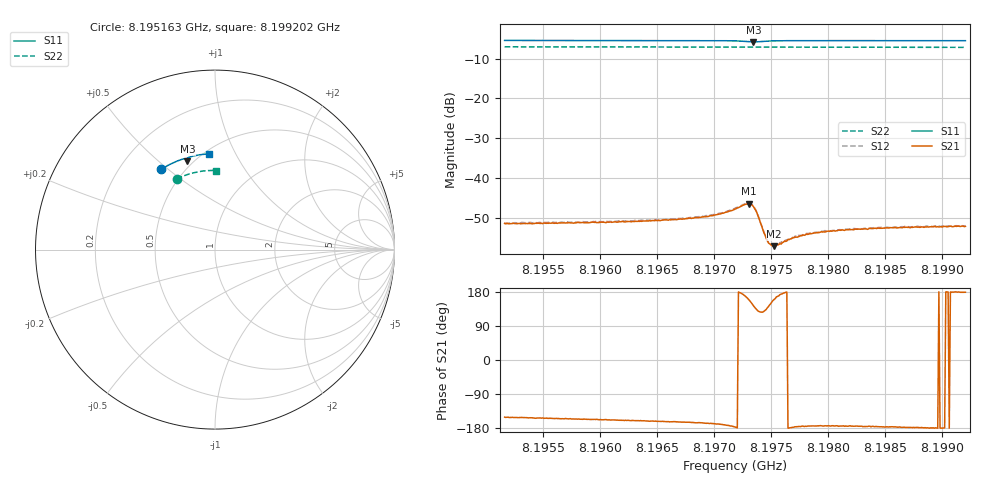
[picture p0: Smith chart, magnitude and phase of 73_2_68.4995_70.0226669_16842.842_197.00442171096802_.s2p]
#  HZ  S  RI  R  50.00
! Rohde & Schwarz Vector Network Analyzer
! Rohde-Schwarz,ZNB20-2Port,1311601062101988,3.16
! Created: UTC 3/20/2024, 4:51:50 PM
! freq[Hz]  re:S11  im:S11  re:S21  im:S21  re:S12  im:S12  re:S22  im:S22
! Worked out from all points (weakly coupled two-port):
!   401 points, 8.195163 GHz to 8.199202 GHz, reference 50 ohm
!   highest |S21| = -46.53 dB at 8.197303 GHz (marker M1); lowest = -57.2 dB at 8.197525 GHz (marker M2)
!   lowest |S11| = -5.8 dB at 8.197344 GHz (marker M3), VSWR 3.13, Z = 23.3 + j31.3 ohm
!   |S11| at or under -10 dB: nowhere
!   |S22| runs from -7.1 to -7.0 dB; largest |S21 - S12| = 0.00025
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8.1951626e9  -0.2984 0.4476  -0.00233 -0.0013  -0.0024 -0.00125  -0.2123 0.3935
8.1958392e9  -0.2568 0.472  -0.0025 -0.0011  -0.00256 -0.00104  -0.1778 0.4091
8.1965157e9  -0.2127 0.4925  -0.00277 -0.00091  -0.00284 -0.000829  -0.1421 0.4218
8.1969297e9  -0.1834 0.503  -0.00316 -0.000719  -0.00329 -0.00065  -0.1197 0.4278
8.1970812e9  -0.1711 0.5059  -0.00355 -0.000573  -0.00365 -0.000472  -0.1113 0.4299
8.1971822e9  -0.1613 0.5062  -0.00404 -0.000231  -0.00415 -4.69e-05  -0.1057 0.4311
8.1972629e9  -0.1528 0.5023  -0.00452 0.000744  -0.00456 0.000946  -0.1012 0.432
8.1973033e9  -0.1504 0.4974  -0.00441 0.00167  -0.0044 0.00189  -0.0991 0.4321
8.1973235e9  -0.151 0.4945  -0.00409 0.00219  -0.00405 0.00243  -0.098 0.4323
8.1973437e9  -0.1533 0.4924  -0.00347 0.00261  -0.00341 0.00279  -0.097 0.4324
8.197374e9  -0.1577 0.4924  -0.00246 0.00268  -0.0023 0.00282  -0.0956 0.4327
8.1974447e9  -0.1606 0.5012  -0.00125 0.00146  -0.00115 0.0015  -0.0917 0.4338
8.1974649e9  -0.1596 0.5037  -0.00119 0.00109  -0.00115 0.00117  -0.0907 0.434
8.1974952e9  -0.1573 0.5066  -0.00122 0.000748  -0.00121 0.00083  -0.0889 0.4343
8.1975255e9  -0.155 0.5088  -0.0013 0.000473  -0.00131 0.000565  -0.0873 0.4345
8.1975457e9  -0.1532 0.51  -0.00141 0.000336  -0.00136 0.00042  -0.0862 0.4349
8.1976668e9  -0.1432 0.515  -0.0017 -3.18e-05  -0.00175 3.47e-05  -0.0795 0.4359
8.1977274e9  -0.1384 0.5166  -0.00178 -0.000138  -0.00183 -3.08e-05  -0.0761 0.4365
8.1978587e9  -0.1284 0.5195  -0.00198 -0.00021  -0.00204 -0.000131  -0.0685 0.4375
8.1981111e9  -0.1098 0.5238  -0.00218 -0.000219  -0.0022 -0.000141  -0.0544 0.4389
8.1985352e9  -0.0796 0.5288  -0.00234 -0.00015  -0.00238 -2.58e-05  -0.0305 0.4405
8.1992017e9  -0.0322 0.5332  -0.00245 5.18e-05  -0.0025 0.000174  0.00725 0.4404
